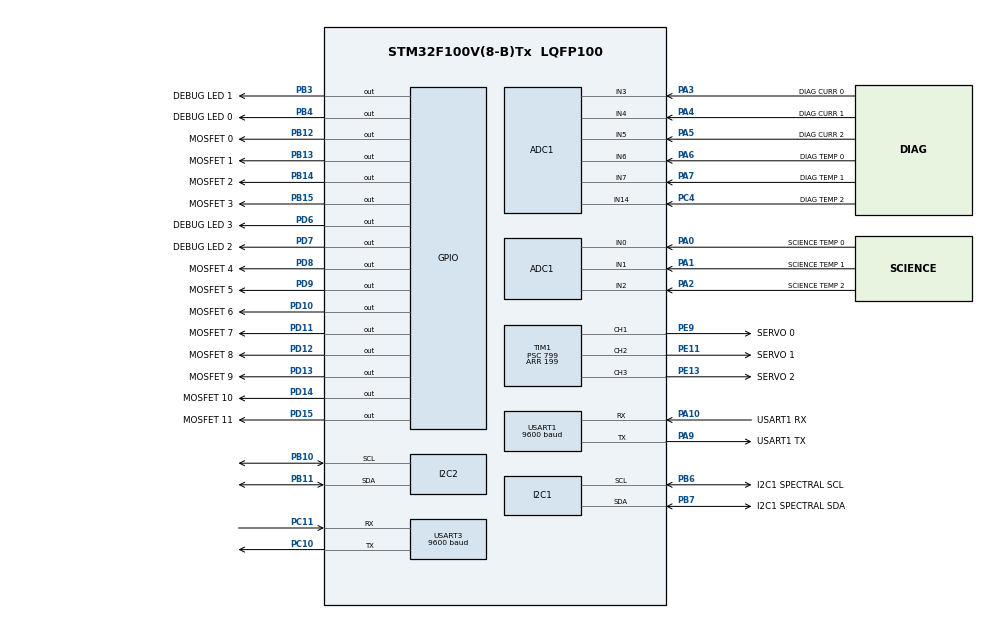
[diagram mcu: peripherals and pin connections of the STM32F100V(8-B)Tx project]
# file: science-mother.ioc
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ADC1.Channel-0\#ChannelRegularConversion=ADC_CHANNEL_0
ADC1.Channel-1\#ChannelRegularConversion=ADC_CHANNEL_1
ADC1.Channel-2\#ChannelRegularConversion=ADC_CHANNEL_2
ADC1.Channel-3\#ChannelRegularConversion=ADC_CHANNEL_3
ADC1.Channel-4\#ChannelRegularConversion=ADC_CHANNEL_4
ADC1.Channel-5\#ChannelRegularConversion=ADC_CHANNEL_5
ADC1.Channel-6\#ChannelRegularConversion=ADC_CHANNEL_6
ADC1.Channel-7\#ChannelRegularConversion=ADC_CHANNEL_7
ADC1.Channel-8\#ChannelRegularConversion=ADC_CHANNEL_14
ADC1.NbrOfConversion=9
ADC1.NbrOfConversionFlag=1
ADC1.Rank-0\#ChannelRegularConversion=1
ADC1.Rank-1\#ChannelRegularConversion=2
ADC1.Rank-2\#ChannelRegularConversion=3
ADC1.Rank-3\#ChannelRegularConversion=4
ADC1.Rank-4\#ChannelRegularConversion=5
ADC1.Rank-5\#ChannelRegularConversion=6
ADC1.Rank-6\#ChannelRegularConversion=7
ADC1.Rank-7\#ChannelRegularConversion=8
ADC1.Rank-8\#ChannelRegularConversion=9
ADC1.SamplingTime-0\#ChannelRegularConversion=ADC_SAMPLETIME_1CYCLE_5
ADC1.SamplingTime-1\#ChannelRegularConversion=ADC_SAMPLETIME_1CYCLE_5
ADC1.SamplingTime-2\#ChannelRegularConversion=ADC_SAMPLETIME_1CYCLE_5
ADC1.SamplingTime-3\#ChannelRegularConversion=ADC_SAMPLETIME_1CYCLE_5
ADC1.SamplingTime-4\#ChannelRegularConversion=ADC_SAMPLETIME_1CYCLE_5
ADC1.SamplingTime-5\#ChannelRegularConversion=ADC_SAMPLETIME_1CYCLE_5
ADC1.SamplingTime-6\#ChannelRegularConversion=ADC_SAMPLETIME_1CYCLE_5
ADC1.SamplingTime-7\#ChannelRegularConversion=ADC_SAMPLETIME_1CYCLE_5
ADC1.SamplingTime-8\#ChannelRegularConversion=ADC_SAMPLETIME_1CYCLE_5
ADC1.master=1
Dma.ADC1.0.Direction=DMA_PERIPH_TO_MEMORY
Dma.ADC1.0.Instance=DMA1_Channel1
Dma.ADC1.0.MemDataAlignment=DMA_MDATAALIGN_HALFWORD
Dma.ADC1.0.MemInc=DMA_MINC_ENABLE
Dma.ADC1.0.Mode=DMA_CIRCULAR
Dma.ADC1.0.PeriphDataAlignment=DMA_PDATAALIGN_HALFWORD
Dma.ADC1.0.PeriphInc=DMA_PINC_DISABLE
Dma.ADC1.0.Priority=DMA_PRIORITY_LOW
Dma.Request0=ADC1
Dma.Request1=USART1_RX
Dma.Request2=USART3_RX
Dma.USART1_RX.1.Direction=DMA_PERIPH_TO_MEMORY
Dma.USART1_RX.1.Instance=DMA1_Channel5
Dma.USART1_RX.1.MemDataAlignment=DMA_MDATAALIGN_BYTE
Dma.USART1_RX.1.MemInc=DMA_MINC_ENABLE
Dma.USART1_RX.1.Mode=DMA_CIRCULAR
Dma.USART1_RX.1.PeriphDataAlignment=DMA_PDATAALIGN_BYTE
Dma.USART1_RX.1.PeriphInc=DMA_PINC_DISABLE
Dma.USART1_RX.1.Priority=DMA_PRIORITY_LOW
Dma.USART3_RX.2.Direction=DMA_PERIPH_TO_MEMORY
Dma.USART3_RX.2.Instance=DMA1_Channel3
Dma.USART3_RX.2.MemDataAlignment=DMA_MDATAALIGN_BYTE
Dma.USART3_RX.2.MemInc=DMA_MINC_ENABLE
Dma.USART3_RX.2.Mode=DMA_CIRCULAR
Dma.USART3_RX.2.PeriphDataAlignment=DMA_PDATAALIGN_BYTE
Dma.USART3_RX.2.PeriphInc=DMA_PINC_DISABLE
Dma.USART3_RX.2.Priority=DMA_PRIORITY_LOW
I2C1.I2C_Mode=I2C_Standard
I2C1.OwnAddress=0
I2C2.I2C_Mode=I2C_Fast
I2C2.OwnAddress=I2C_ADDRESS
Mcu.Family=STM32F1
Mcu.Name=STM32F100V(8-B)Tx
Mcu.Package=LQFP100
Mcu.UserConstants=TIMER_ONE_MS,1000;I2C_ADDRESS,0x01
NVIC.DMA1_Channel1_IRQn=true\:0\:0\:false\:false\:true\:false\:true\:true
NVIC.DMA1_Channel3_IRQn=true\:0\:0\:false\:false\:true\:false\:true\:true
NVIC.DMA1_Channel5_IRQn=true\:0\:0\:false\:false\:true\:false\:true\:true
NVIC.I2C2_ER_IRQn=true\:0\:0\:false\:false\:true\:true\:true\:true
NVIC.I2C2_EV_IRQn=true\:0\:0\:false\:false\:true\:true\:true\:true
NVIC.PriorityGroup=NVIC_PRIORITYGROUP_4
NVIC.TIM6_DAC_IRQn=true\:0\:0\:false\:false\:true\:true\:true\:true
NVIC.USART1_IRQn=true\:0\:0\:false\:false\:true\:true\:true\:true
NVIC.USART3_IRQn=true\:0\:0\:false\:false\:true\:true\:true\:true
PA0-WKUP.GPIO_Label=SCIENCE TEMP 0
PA0-WKUP.Signal=ADCx_IN0
PA1.GPIO_Label=SCIENCE TEMP 1
PA1.Signal=ADCx_IN1
PA10.GPIO_Label=USART1 RX
PA10.GPIO_PuPd=GPIO_NOPULL
PA10.Mode=Asynchronous
PA10.Signal=USART1_RX
PA13.Mode=Serial_Wire
PA13.Signal=SYS_JTMS-SWDIO
PA14.Mode=Serial_Wire
PA14.Signal=SYS_JTCK-SWCLK
PA2.GPIO_Label=SCIENCE TEMP 2
PA2.Signal=ADCx_IN2
PA3.GPIO_Label=DIAG CURR 0
PA3.Signal=ADCx_IN3
PA4.GPIO_Label=DIAG CURR 1
PA4.Signal=ADCx_IN4
PA5.GPIO_Label=DIAG CURR 2
PA5.Signal=ADCx_IN5
PA6.GPIO_Label=DIAG TEMP 0
PA6.Signal=ADCx_IN6
PA7.GPIO_Label=DIAG TEMP 1
PA7.Signal=ADCx_IN7
PA9.GPIO_Label=USART1 TX
PA9.Mode=Asynchronous
PA9.Signal=USART1_TX
PB10.Mode=I2C
PB10.Signal=I2C2_SCL
PB11.Mode=I2C
PB11.Signal=I2C2_SDA
PB12.GPIO_Label=MOSFET 0
PB12.Signal=GPIO_Output
PB13.GPIO_Label=MOSFET 1
PB13.Signal=GPIO_Output
PB14.GPIO_Label=MOSFET 2
PB14.Signal=GPIO_Output
PB15.GPIO_Label=MOSFET 3
PB15.Signal=GPIO_Output
PB3.GPIO_Label=DEBUG LED 1
PB3.Signal=GPIO_Output
PB4.GPIO_Label=DEBUG LED 0
PB4.Signal=GPIO_Output
PB6.GPIO_Label=I2C1 SPECTRAL SCL
PB6.Mode=I2C
PB6.Signal=I2C1_SCL
PB7.GPIO_Label=I2C1 SPECTRAL SDA
PB7.Mode=I2C
PB7.Signal=I2C1_SDA
PC10.Mode=Asynchronous
PC10.Signal=USART3_TX
PC11.Mode=Asynchronous
PC11.Signal=USART3_RX
PC4.GPIO_Label=DIAG TEMP 2
PC4.Signal=ADCx_IN14
PD10.GPIO_Label=MOSFET 6
PD10.Signal=GPIO_Output
PD11.GPIO_Label=MOSFET 7
PD11.Signal=GPIO_Output
PD12.GPIO_Label=MOSFET 8
PD12.Signal=GPIO_Output
PD13.GPIO_Label=MOSFET 9
PD13.Signal=GPIO_Output
PD14.GPIO_Label=MOSFET 10
PD14.Signal=GPIO_Output
PD15.GPIO_Label=MOSFET 11
PD15.Signal=GPIO_Output
PD6.GPIO_Label=DEBUG LED 3
PD6.Signal=GPIO_Output
PD7.GPIO_Label=DEBUG LED 2
PD7.Signal=GPIO_Output
PD8.GPIO_Label=MOSFET 4
PD8.Signal=GPIO_Output
PD9.GPIO_Label=MOSFET 5
PD9.Signal=GPIO_Output
PE11.GPIO_Label=SERVO 1
PE11.Signal=S_TIM1_CH2
PE13.GPIO_Label=SERVO 2
PE13.Signal=S_TIM1_CH3
PE9.GPIO_Label=SERVO 0
PE9.Signal=S_TIM1_CH1
ProjectManager.HeapSize=0x200
ProjectManager.StackSize=0x400
ProjectManager.TargetToolchain=STM32CubeIDE
RCC.APB1Freq_Value=8000000
RCC.APB2Freq_Value=8000000
SH.ADCx_IN0.0=ADC1_IN0,IN0
SH.ADCx_IN1.0=ADC1_IN1,IN1
SH.ADCx_IN14.0=ADC1_IN14,IN14
SH.ADCx_IN2.0=ADC1_IN2,IN2
SH.ADCx_IN3.0=ADC1_IN3,IN3
SH.ADCx_IN4.0=ADC1_IN4,IN4
SH.ADCx_IN5.0=ADC1_IN5,IN5
SH.ADCx_IN6.0=ADC1_IN6,IN6
SH.ADCx_IN7.0=ADC1_IN7,IN7
SH.S_TIM1_CH1.0=TIM1_CH1,PWM Generation1 CH1
SH.S_TIM1_CH2.0=TIM1_CH2,PWM Generation2 CH2
SH.S_TIM1_CH3.0=TIM1_CH3,PWM Generation3 CH3
TIM1.Channel-PWM\ Generation1\ CH1=TIM_CHANNEL_1
TIM1.Channel-PWM\ Generation2\ CH2=TIM_CHANNEL_2
TIM1.Channel-PWM\ Generation3\ CH3=TIM_CHANNEL_3
TIM1.Period=199
TIM1.Prescaler=799
TIM6.Period=TIMER_ONE_MS
TIM6.Prescaler=15
USART1.BaudRate=9600
USART1.VirtualMode=VM_ASYNC
USART3.BaudRate=9600
USART3.VirtualMode=VM_ASYNC
VP_TIM6_VS_ClockSourceINT.Mode=Enable_Timer
board=custom

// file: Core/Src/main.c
/* USER CODE BEGIN Header */
/**
  ******************************************************************************
  * @file           : main.c
  * @brief          : Main program body
  ******************************************************************************
  * @attention
  *
  * Copyright (c) 2022 STMicroelectronics.
  * All rights reserved.
  *
  * This software is licensed under terms that can be found in the LICENSE file
  * in the root directory of this software component.
  * If no LICENSE file comes with this software, it is provided AS-IS.
  *
  ******************************************************************************
  */
/* USER CODE END Header */
#include "main.h"

/* USER CODE BEGIN Includes */

#include "adc_sensor.h"
#include "bridge.h"
#include "heater.h"
#include "pin_data.h"
#include "servo.h"
#include "smbus.h"
#include "spectral.h"
#include "thermistor.h"

/* USER CODE END Includes */

/* USER CODE BEGIN PD */

#define NUM_MOSFET_DEVICES 12
#define NUM_SCIENCE_TEMP_SENSORS 3
#define NUM_SERVOS 3
#define NUM_HEATERS 3
#define NUM_DEBUG_LEDS 4

#define HEATER_0_MOSFET_PIN 3
#define HEATER_1_MOSFET_PIN 4
#define HEATER_2_MOSFET_PIN 5

#define AUTON_LED_RED_MOSFET_PIN 7
#define AUTON_LED_GREEN_MOSFET_PIN 8
#define AUTON_LED_BLUE_MOSFET_PIN 9

#define SERVO_0_DEFAULT_ANGLE 100
#define SERVO_1_DEFAULT_ANGLE 90  // TODO - change eventually too
#define SERVO_2_DEFAULT_ANGLE 50

/* USER CODE END PD */

ADC_HandleTypeDef hadc1;
DMA_HandleTypeDef hdma_adc1;

I2C_HandleTypeDef hi2c1;
I2C_HandleTypeDef hi2c2;

TIM_HandleTypeDef htim1;
TIM_HandleTypeDef htim6;

UART_HandleTypeDef huart1;
UART_HandleTypeDef huart3;
DMA_HandleTypeDef hdma_usart1_rx;
DMA_HandleTypeDef hdma_usart3_rx;

/* USER CODE BEGIN PV */

AutonLED* auton_led = NULL;
ADCSensor* adc_sensor = NULL;
Bridge* bridge = NULL;
Heater* science_heaters[NUM_HEATERS] = {NULL};
PinData* debug_leds[NUM_DEBUG_LEDS] = {NULL};
PinData* heater_pins[NUM_HEATERS] = {NULL};
PinData* mosfet_pins[NUM_MOSFET_DEVICES] = {NULL};
Servo* servos[NUM_SERVOS] = {NULL};
SMBus* smbus = NULL;
Spectral* spectral = NULL;
Thermistor* science_temp_sensors[NUM_SCIENCE_TEMP_SENSORS] = {NULL};

float science_temperatures[NUM_SCIENCE_TEMP_SENSORS] = {0};
uint16_t spectral_data[SPECTRAL_CHANNELS] = {0};
bool heater_auto_shutoff_state = false;
bool heater_on_state[NUM_HEATERS] = {false};

/* USER CODE END PV */

void SystemClock_Config(void);
static void MX_GPIO_Init(void);
static void MX_DMA_Init(void);
static void MX_ADC1_Init(void);
static void MX_I2C1_Init(void);
static void MX_TIM1_Init(void);
static void MX_USART1_UART_Init(void);
static void MX_TIM6_Init(void);
static void MX_USART3_UART_Init(void);
static void MX_I2C2_Init(void);

/* USER CODE BEGIN 0 */

void HAL_TIM_PeriodElapsedCallback(TIM_HandleTypeDef *htim) {
	if (htim == &htim6) {
		update_auton_led_state(auton_led);
	}
}

void HAL_UART_RxCpltCallback(UART_HandleTypeDef *huart) {
	receive_bridge(bridge, science_heaters, mosfet_pins, servos, auton_led);
}

/* USER CODE END 0 */

int main(void)
{

  /* MCU Configuration--------------------------------------------------------*/

  /* Reset of all peripherals, Initializes the Flash interface and the Systick. */
  HAL_Init();

  /* Configure the system clock */
  SystemClock_Config();

  /* USER CODE BEGIN SysInit */
  // Delay so Jetson doen't kill it with noise

  // Temporarily disable USART to be resistant to noise (does this even work?)
  // 0x18 is the address of the RCC_APB2ENR register
//  CLEAR_BIT(0x18, RCC_APB2ENR_USART1EN);
  HAL_Delay(120000);
//  SET_BIT(0x18, RCC_APB2ENR_USART1EN);

  /* USER CODE END SysInit */

  /* Initialize all configured peripherals */
  MX_GPIO_Init();
  MX_DMA_Init();
  MX_ADC1_Init();
  MX_I2C1_Init();
  MX_TIM1_Init();
  MX_USART1_UART_Init();
  MX_TIM6_Init();
  MX_USART3_UART_Init();
  MX_I2C2_Init();
  /* USER CODE BEGIN 2 */

	adc_sensor = new_adc_sensor(&hadc1, 3);

	bridge = new_bridge(&huart1);

	debug_leds[0] = new_pin_data(DEBUG_LED_0_GPIO_Port, DEBUG_LED_0_Pin, PIN_IS_OUTPUT);
	debug_leds[1] = new_pin_data(DEBUG_LED_1_GPIO_Port, DEBUG_LED_1_Pin, PIN_IS_OUTPUT);
	debug_leds[2] = new_pin_data(DEBUG_LED_2_GPIO_Port, DEBUG_LED_2_Pin, PIN_IS_OUTPUT);
	debug_leds[3] = new_pin_data(DEBUG_LED_3_GPIO_Port, DEBUG_LED_3_Pin, PIN_IS_OUTPUT);

	mosfet_pins[0] = new_pin_data(MOSFET_0_GPIO_Port, MOSFET_0_Pin, PIN_IS_OUTPUT);
	mosfet_pins[1] = new_pin_data(MOSFET_1_GPIO_Port, MOSFET_1_Pin, PIN_IS_OUTPUT);
	mosfet_pins[2] = new_pin_data(MOSFET_2_GPIO_Port, MOSFET_2_Pin, PIN_IS_OUTPUT);
	mosfet_pins[3] = new_pin_data(MOSFET_3_GPIO_Port, MOSFET_3_Pin, PIN_IS_OUTPUT);
	mosfet_pins[4] = new_pin_data(MOSFET_4_GPIO_Port, MOSFET_4_Pin, PIN_IS_OUTPUT);
	mosfet_pins[5] = new_pin_data(MOSFET_5_GPIO_Port, MOSFET_5_Pin, PIN_IS_OUTPUT);
	mosfet_pins[6] = new_pin_data(MOSFET_6_GPIO_Port, MOSFET_6_Pin, PIN_IS_OUTPUT);
	mosfet_pins[7] = new_pin_data(MOSFET_7_GPIO_Port, MOSFET_7_Pin, PIN_IS_OUTPUT);
	mosfet_pins[8] = new_pin_data(MOSFET_8_GPIO_Port, MOSFET_8_Pin, PIN_IS_OUTPUT);
	mosfet_pins[9] = new_pin_data(MOSFET_9_GPIO_Port, MOSFET_9_Pin, PIN_IS_OUTPUT);
	mosfet_pins[10] = new_pin_data(MOSFET_10_GPIO_Port, MOSFET_10_Pin, PIN_IS_OUTPUT);
	mosfet_pins[11] = new_pin_data(MOSFET_11_GPIO_Port, MOSFET_11_Pin, PIN_IS_OUTPUT);

	auton_led = new_auton_led(mosfet_pins[AUTON_LED_RED_MOSFET_PIN], mosfet_pins[AUTON_LED_GREEN_MOSFET_PIN], mosfet_pins[AUTON_LED_BLUE_MOSFET_PIN]);

	heater_pins[0] = mosfet_pins[HEATER_0_MOSFET_PIN];
	heater_pins[1] = mosfet_pins[HEATER_1_MOSFET_PIN];
	heater_pins[2] = mosfet_pins[HEATER_2_MOSFET_PIN];

	servos[0] = new_servo(&htim1, TIM_CHANNEL_1, &(TIM1->CCR1));
	servos[1] = new_servo(&htim1, TIM_CHANNEL_2, &(TIM1->CCR2));
	servos[2] = new_servo(&htim1, TIM_CHANNEL_3, &(TIM1->CCR3));

	smbus = new_smbus(&hi2c1, NULL, false);
	spectral = new_spectral(smbus);

	science_temp_sensors[0] = new_thermistor(adc_sensor, 0);
	science_temp_sensors[1] = new_thermistor(adc_sensor, 1);
	science_temp_sensors[2] = new_thermistor(adc_sensor, 2);

	science_heaters[0] = new_heater(heater_pins[0], science_temp_sensors[0]);
	science_heaters[1] = new_heater(heater_pins[1], science_temp_sensors[1]);
	science_heaters[2] = new_heater(heater_pins[2], science_temp_sensors[2]);

  receive_bridge(bridge, science_heaters, mosfet_pins, servos, auton_led);

  initialize_servo(servos[0], SERVO_0_DEFAULT_ANGLE);
  initialize_servo(servos[1], SERVO_1_DEFAULT_ANGLE);
  initialize_servo(servos[2], SERVO_2_DEFAULT_ANGLE);
  HAL_TIM_Base_Start_IT(&htim6);

  /* USER CODE END 2 */

  /* Infinite loop */
  while (1)
  {

    /* USER CODE BEGIN 3 */

	  /*
	   * In a while loop, we will need to get the following data and send it over:
	   * Science Temperatures
	   * Spectral sensor data
	   * State of auto-shut off state of the heater (upon change).
	   * State of the heater (upon change).
	   */
	  update_adc_sensor_values(adc_sensor);

	  for (size_t i = 0; i < NUM_HEATERS; ++i) {
		  update_heater_temperature(science_heaters[i]);
		  update_heater_state(science_heaters[i]);
		  science_temperatures[i] = get_thermistor_temperature(science_temp_sensors[i]);
	  }
	  bridge_send_science_thermistors(bridge, science_temperatures);

	  // Initialize spectral (in case it disconnected before and needs to reconnect)
	  initialize_spectral(spectral);

	  for (size_t i = 0; i < SPECTRAL_CHANNELS; ++i) {
		  uint8_t error_flag = 0;
		  update_spectral_channel_data(spectral, i, &error_flag);

		  // If spectral I2C NAKs, leave early
		  if(error_flag) {
			  break;
		  }

		  spectral_data[i] = get_spectral_channel_data(spectral, i);
	   }
	   bridge_send_spectral(bridge, spectral_data);

	   bool send_auto_shutoff = false;
	   for (size_t i = 0; i < NUM_HEATERS; ++i) {
		   heater_auto_shutoff_state = science_heaters[i]->auto_shutoff;
		   if (science_heaters[i]->send_auto_shutoff) {
			   science_heaters[i]->send_auto_shutoff = false;
			   send_auto_shutoff = true;
		   }
	   }
	   if (send_auto_shutoff) {
		   bridge_send_heater_auto_shutoff(bridge, heater_auto_shutoff_state);
	   }

	   bool send_heater_on = false;
	   for (size_t i = 0; i < NUM_HEATERS; ++i) {
		   heater_on_state[i] = science_heaters[i]->is_on;
		   if (science_heaters[i]->send_on) {
			   science_heaters[i]->send_on = false;
			   send_heater_on = true;
		   }
	   }
	   if (send_heater_on) {
		   bridge_send_heater_state(bridge, heater_on_state);
	   }

  }
  /* USER CODE END 3 */
}

void SystemClock_Config(void)
{
  RCC_OscInitTypeDef RCC_OscInitStruct = {0};
  RCC_ClkInitTypeDef RCC_ClkInitStruct = {0};
  RCC_PeriphCLKInitTypeDef PeriphClkInit = {0};

  /** Initializes the RCC Oscillators according to the specified parameters
  * in the RCC_OscInitTypeDef structure.
  */
  RCC_OscInitStruct.OscillatorType = RCC_OSCILLATORTYPE_HSI;
  RCC_OscInitStruct.HSIState = RCC_HSI_ON;
  RCC_OscInitStruct.HSICalibrationValue = RCC_HSICALIBRATION_DEFAULT;
  RCC_OscInitStruct.PLL.PLLState = RCC_PLL_NONE;
  if (HAL_RCC_OscConfig(&RCC_OscInitStruct) != HAL_OK)
  {
    Error_Handler();
  }

  /** Initializes the CPU, AHB and APB buses clocks
  */
  RCC_ClkInitStruct.ClockType = RCC_CLOCKTYPE_HCLK|RCC_CLOCKTYPE_SYSCLK
                              |RCC_CLOCKTYPE_PCLK1|RCC_CLOCKTYPE_PCLK2;
  RCC_ClkInitStruct.SYSCLKSource = RCC_SYSCLKSOURCE_HSI;
  RCC_ClkInitStruct.AHBCLKDivider = RCC_SYSCLK_DIV1;
  RCC_ClkInitStruct.APB1CLKDivider = RCC_HCLK_DIV1;
  RCC_ClkInitStruct.APB2CLKDivider = RCC_HCLK_DIV1;

  if (HAL_RCC_ClockConfig(&RCC_ClkInitStruct, FLASH_LATENCY_0) != HAL_OK)
  {
    Error_Handler();
  }
  PeriphClkInit.PeriphClockSelection = RCC_PERIPHCLK_ADC;
  PeriphClkInit.AdcClockSelection = RCC_ADCPCLK2_DIV2;
  if (HAL_RCCEx_PeriphCLKConfig(&PeriphClkInit) != HAL_OK)
  {
    Error_Handler();
  }
}

static void MX_ADC1_Init(void)
{

  ADC_ChannelConfTypeDef sConfig = {0};

  /** Common config
  */
  hadc1.Instance = ADC1;
  hadc1.Init.ScanConvMode = ADC_SCAN_ENABLE;
  hadc1.Init.ContinuousConvMode = DISABLE;
  hadc1.Init.DiscontinuousConvMode = DISABLE;
  hadc1.Init.ExternalTrigConv = ADC_SOFTWARE_START;
  hadc1.Init.DataAlign = ADC_DATAALIGN_RIGHT;
  hadc1.Init.NbrOfConversion = 9;
  if (HAL_ADC_Init(&hadc1) != HAL_OK)
  {
    Error_Handler();
  }

  /** Configure Regular Channel
  */
  sConfig.Channel = ADC_CHANNEL_0;
  sConfig.Rank = ADC_REGULAR_RANK_1;
  sConfig.SamplingTime = ADC_SAMPLETIME_1CYCLE_5;
  if (HAL_ADC_ConfigChannel(&hadc1, &sConfig) != HAL_OK)
  {
    Error_Handler();
  }

  /** Configure Regular Channel
  */
  sConfig.Channel = ADC_CHANNEL_1;
  sConfig.Rank = ADC_REGULAR_RANK_2;
  if (HAL_ADC_ConfigChannel(&hadc1, &sConfig) != HAL_OK)
  {
    Error_Handler();
  }

  /** Configure Regular Channel
  */
  sConfig.Channel = ADC_CHANNEL_2;
  sConfig.Rank = ADC_REGULAR_RANK_3;
  if (HAL_ADC_ConfigChannel(&hadc1, &sConfig) != HAL_OK)
  {
    Error_Handler();
  }

  /** Configure Regular Channel
  */
  sConfig.Channel = ADC_CHANNEL_3;
  sConfig.Rank = ADC_REGULAR_RANK_4;
  if (HAL_ADC_ConfigChannel(&hadc1, &sConfig) != HAL_OK)
  {
    Error_Handler();
  }

  /** Configure Regular Channel
  */
  sConfig.Channel = ADC_CHANNEL_4;
  sConfig.Rank = ADC_REGULAR_RANK_5;
  if (HAL_ADC_ConfigChannel(&hadc1, &sConfig) != HAL_OK)
  {
    Error_Handler();
  }

  /** Configure Regular Channel
  */
  sConfig.Channel = ADC_CHANNEL_5;
  sConfig.Rank = ADC_REGULAR_RANK_6;
  if (HAL_ADC_ConfigChannel(&hadc1, &sConfig) != HAL_OK)
  {
    Error_Handler();
  }

  /** Configure Regular Channel
  */
  sConfig.Channel = ADC_CHANNEL_6;
  sConfig.Rank = ADC_REGULAR_RANK_7;
  if (HAL_ADC_ConfigChannel(&hadc1, &sConfig) != HAL_OK)
  {
    Error_Handler();
  }

  /** Configure Regular Channel
  */
  sConfig.Channel = ADC_CHANNEL_7;
  sConfig.Rank = ADC_REGULAR_RANK_8;
  if (HAL_ADC_ConfigChannel(&hadc1, &sConfig) != HAL_OK)
  {
    Error_Handler();
  }

  /** Configure Regular Channel
  */
  sConfig.Channel = ADC_CHANNEL_14;
  sConfig.Rank = ADC_REGULAR_RANK_9;
  if (HAL_ADC_ConfigChannel(&hadc1, &sConfig) != HAL_OK)
  {
    Error_Handler();
  }

}

static void MX_I2C1_Init(void)
{

  hi2c1.Instance = I2C1;
  hi2c1.Init.ClockSpeed = 100000;
  hi2c1.Init.DutyCycle = I2C_DUTYCYCLE_2;
  hi2c1.Init.OwnAddress1 = 0;
  hi2c1.Init.AddressingMode = I2C_ADDRESSINGMODE_7BIT;
  hi2c1.Init.DualAddressMode = I2C_DUALADDRESS_DISABLE;
  hi2c1.Init.OwnAddress2 = 0;
  hi2c1.Init.GeneralCallMode = I2C_GENERALCALL_DISABLE;
  hi2c1.Init.NoStretchMode = I2C_NOSTRETCH_DISABLE;
  if (HAL_I2C_Init(&hi2c1) != HAL_OK)
  {
    Error_Handler();
  }

}

static void MX_I2C2_Init(void)
{

  hi2c2.Instance = I2C2;
  hi2c2.Init.ClockSpeed = 400000;
  hi2c2.Init.DutyCycle = I2C_DUTYCYCLE_2;
  hi2c2.Init.OwnAddress1 = 2;
  hi2c2.Init.AddressingMode = I2C_ADDRESSINGMODE_7BIT;
  hi2c2.Init.DualAddressMode = I2C_DUALADDRESS_DISABLE;
  hi2c2.Init.OwnAddress2 = 0;
  hi2c2.Init.GeneralCallMode = I2C_GENERALCALL_DISABLE;
  hi2c2.Init.NoStretchMode = I2C_NOSTRETCH_DISABLE;
  if (HAL_I2C_Init(&hi2c2) != HAL_OK)
  {
    Error_Handler();
  }

}

static void MX_TIM1_Init(void)
{

  TIM_MasterConfigTypeDef sMasterConfig = {0};
  TIM_OC_InitTypeDef sConfigOC = {0};
  TIM_BreakDeadTimeConfigTypeDef sBreakDeadTimeConfig = {0};

  htim1.Instance = TIM1;
  htim1.Init.Prescaler = 799;
  htim1.Init.CounterMode = TIM_COUNTERMODE_UP;
  htim1.Init.Period = 199;
  htim1.Init.ClockDivision = TIM_CLOCKDIVISION_DIV1;
  htim1.Init.RepetitionCounter = 0;
  htim1.Init.AutoReloadPreload = TIM_AUTORELOAD_PRELOAD_DISABLE;
  if (HAL_TIM_PWM_Init(&htim1) != HAL_OK)
  {
    Error_Handler();
  }
  sMasterConfig.MasterOutputTrigger = TIM_TRGO_RESET;
  sMasterConfig.MasterSlaveMode = TIM_MASTERSLAVEMODE_DISABLE;
  if (HAL_TIMEx_MasterConfigSynchronization(&htim1, &sMasterConfig) != HAL_OK)
  {
    Error_Handler();
  }
  sConfigOC.OCMode = TIM_OCMODE_PWM1;
  sConfigOC.Pulse = 0;
  sConfigOC.OCPolarity = TIM_OCPOLARITY_HIGH;
  sConfigOC.OCNPolarity = TIM_OCNPOLARITY_HIGH;
  sConfigOC.OCFastMode = TIM_OCFAST_DISABLE;
  sConfigOC.OCIdleState = TIM_OCIDLESTATE_RESET;
  sConfigOC.OCNIdleState = TIM_OCNIDLESTATE_RESET;
  if (HAL_TIM_PWM_ConfigChannel(&htim1, &sConfigOC, TIM_CHANNEL_1) != HAL_OK)
  {
    Error_Handler();
  }
  if (HAL_TIM_PWM_ConfigChannel(&htim1, &sConfigOC, TIM_CHANNEL_2) != HAL_OK)
  {
    Error_Handler();
  }
  if (HAL_TIM_PWM_ConfigChannel(&htim1, &sConfigOC, TIM_CHANNEL_3) != HAL_OK)
  {
    Error_Handler();
  }
  sBreakDeadTimeConfig.OffStateRunMode = TIM_OSSR_DISABLE;
  sBreakDeadTimeConfig.OffStateIDLEMode = TIM_OSSI_DISABLE;
  sBreakDeadTimeConfig.LockLevel = TIM_LOCKLEVEL_OFF;
  sBreakDeadTimeConfig.DeadTime = 0;
  sBreakDeadTimeConfig.BreakState = TIM_BREAK_DISABLE;
  sBreakDeadTimeConfig.BreakPolarity = TIM_BREAKPOLARITY_HIGH;
  sBreakDeadTimeConfig.AutomaticOutput = TIM_AUTOMATICOUTPUT_DISABLE;
  if (HAL_TIMEx_ConfigBreakDeadTime(&htim1, &sBreakDeadTimeConfig) != HAL_OK)
  {
    Error_Handler();
  }
  HAL_TIM_MspPostInit(&htim1);

}

static void MX_TIM6_Init(void)
{

  TIM_MasterConfigTypeDef sMasterConfig = {0};

  htim6.Instance = TIM6;
  htim6.Init.Prescaler = 15;
  htim6.Init.CounterMode = TIM_COUNTERMODE_UP;
  htim6.Init.Period = TIMER_ONE_MS;
  htim6.Init.AutoReloadPreload = TIM_AUTORELOAD_PRELOAD_DISABLE;
  if (HAL_TIM_Base_Init(&htim6) != HAL_OK)
  {
    Error_Handler();
  }
  sMasterConfig.MasterOutputTrigger = TIM_TRGO_RESET;
  sMasterConfig.MasterSlaveMode = TIM_MASTERSLAVEMODE_DISABLE;
  if (HAL_TIMEx_MasterConfigSynchronization(&htim6, &sMasterConfig) != HAL_OK)
  {
    Error_Handler();
  }

}

static void MX_USART1_UART_Init(void)
{

  huart1.Instance = USART1;
  huart1.Init.BaudRate = 9600;
  huart1.Init.WordLength = UART_WORDLENGTH_8B;
  huart1.Init.StopBits = UART_STOPBITS_1;
  huart1.Init.Parity = UART_PARITY_NONE;
  huart1.Init.Mode = UART_MODE_TX_RX;
  huart1.Init.HwFlowCtl = UART_HWCONTROL_NONE;
  huart1.Init.OverSampling = UART_OVERSAMPLING_16;
  if (HAL_UART_Init(&huart1) != HAL_OK)
  {
    Error_Handler();
  }

}

static void MX_USART3_UART_Init(void)
{

  huart3.Instance = USART3;
  huart3.Init.BaudRate = 9600;
  huart3.Init.WordLength = UART_WORDLENGTH_8B;
  huart3.Init.StopBits = UART_STOPBITS_1;
  huart3.Init.Parity = UART_PARITY_NONE;
  huart3.Init.Mode = UART_MODE_TX_RX;
  huart3.Init.HwFlowCtl = UART_HWCONTROL_NONE;
  huart3.Init.OverSampling = UART_OVERSAMPLING_16;
  if (HAL_UART_Init(&huart3) != HAL_OK)
  {
    Error_Handler();
  }

}

static void MX_DMA_Init(void)
{

  /* DMA controller clock enable */
  __HAL_RCC_DMA1_CLK_ENABLE();

  /* DMA interrupt init */
  /* DMA1_Channel1_IRQn interrupt configuration */
  HAL_NVIC_SetPriority(DMA1_Channel1_IRQn, 0, 0);
  HAL_NVIC_EnableIRQ(DMA1_Channel1_IRQn);
  /* DMA1_Channel3_IRQn interrupt configuration */
  HAL_NVIC_SetPriority(DMA1_Channel3_IRQn, 0, 0);
  HAL_NVIC_EnableIRQ(DMA1_Channel3_IRQn);
  /* DMA1_Channel5_IRQn interrupt configuration */
  HAL_NVIC_SetPriority(DMA1_Channel5_IRQn, 0, 0);
  HAL_NVIC_EnableIRQ(DMA1_Channel5_IRQn);

}

static void MX_GPIO_Init(void)
{
  GPIO_InitTypeDef GPIO_InitStruct = {0};

  /* GPIO Ports Clock Enable */
  __HAL_RCC_GPIOA_CLK_ENABLE();
  __HAL_RCC_GPIOC_CLK_ENABLE();
  __HAL_RCC_GPIOE_CLK_ENABLE();
  __HAL_RCC_GPIOB_CLK_ENABLE();
  __HAL_RCC_GPIOD_CLK_ENABLE();

  /*Configure GPIO pin Output Level */
  HAL_GPIO_WritePin(GPIOB, MOSFET_0_Pin|MOSFET_1_Pin|MOSFET_2_Pin|MOSFET_3_Pin
                          |DEBUG_LED_1_Pin|DEBUG_LED_0_Pin, GPIO_PIN_RESET);

  /*Configure GPIO pin Output Level */
  HAL_GPIO_WritePin(GPIOD, MOSFET_4_Pin|MOSFET_5_Pin|MOSFET_6_Pin|MOSFET_7_Pin
                          |MOSFET_8_Pin|MOSFET_9_Pin|MOSFET_10_Pin|MOSFET_11_Pin
                          |DEBUG_LED_3_Pin|DEBUG_LED_2_Pin, GPIO_PIN_RESET);

  /*Configure GPIO pins : MOSFET_0_Pin MOSFET_1_Pin MOSFET_2_Pin MOSFET_3_Pin
                           DEBUG_LED_1_Pin DEBUG_LED_0_Pin */
  GPIO_InitStruct.Pin = MOSFET_0_Pin|MOSFET_1_Pin|MOSFET_2_Pin|MOSFET_3_Pin
                          |DEBUG_LED_1_Pin|DEBUG_LED_0_Pin;
  GPIO_InitStruct.Mode = GPIO_MODE_OUTPUT_PP;
  GPIO_InitStruct.Pull = GPIO_NOPULL;
  GPIO_InitStruct.Speed = GPIO_SPEED_FREQ_LOW;
  HAL_GPIO_Init(GPIOB, &GPIO_InitStruct);

  /*Configure GPIO pins : MOSFET_4_Pin MOSFET_5_Pin MOSFET_6_Pin MOSFET_7_Pin
                           MOSFET_8_Pin MOSFET_9_Pin MOSFET_10_Pin MOSFET_11_Pin
                           DEBUG_LED_3_Pin DEBUG_LED_2_Pin */
  GPIO_InitStruct.Pin = MOSFET_4_Pin|MOSFET_5_Pin|MOSFET_6_Pin|MOSFET_7_Pin
                          |MOSFET_8_Pin|MOSFET_9_Pin|MOSFET_10_Pin|MOSFET_11_Pin
                          |DEBUG_LED_3_Pin|DEBUG_LED_2_Pin;
  GPIO_InitStruct.Mode = GPIO_MODE_OUTPUT_PP;
  GPIO_InitStruct.Pull = GPIO_NOPULL;
  GPIO_InitStruct.Speed = GPIO_SPEED_FREQ_LOW;
  HAL_GPIO_Init(GPIOD, &GPIO_InitStruct);

}

void Error_Handler(void)
{
  __disable_irq();
  while (1)
  {
  }
}
